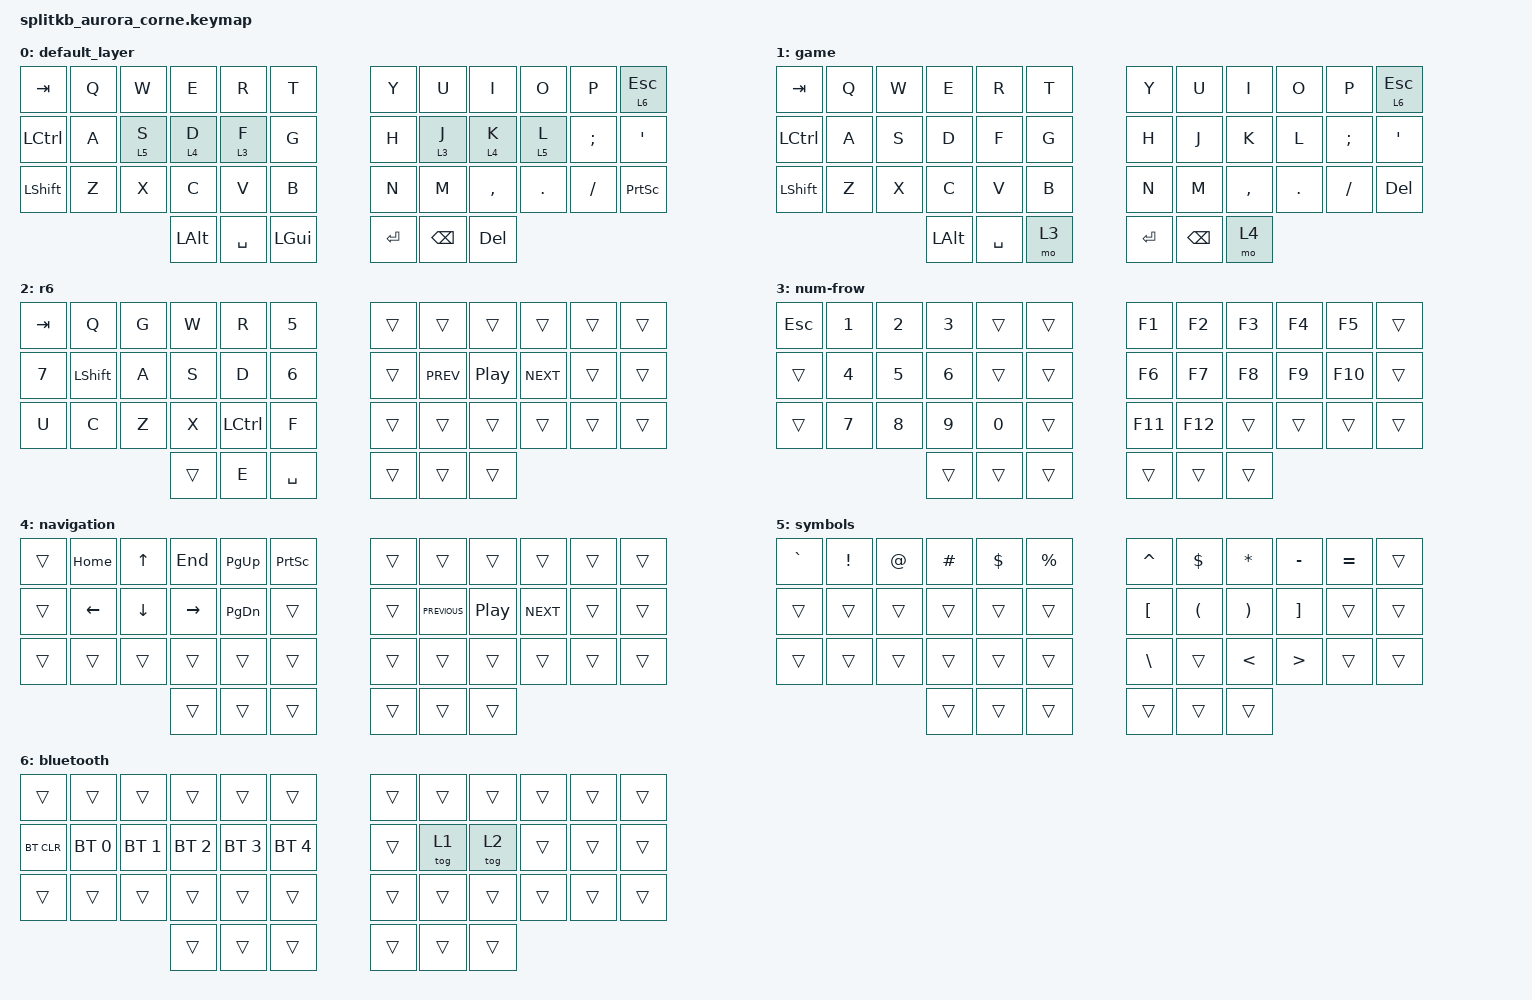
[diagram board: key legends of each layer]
/*
 * Copyright (c) 2020 The ZMK Contributors
 *
 * SPDX-License-Identifier: MIT
 */

#include <behaviors.dtsi>
#include <dt-bindings/zmk/bt.h>
#include <dt-bindings/zmk/keys.h>

/ {
    keymap {
        compatible = "zmk,keymap";

        default_layer {
            // -----------------------------------------------------------------------------------------
            // |  TAB |  Q  |  W  |  E  |  R  |  T  |   |  Y  |  U   |  I  |  O  |  P  | BKSP |
            // | CTRL |  A  |  S  |  D  |  F  |  G  |   |  H  |  J   |  K  |  L  |  ;  |  '   |
            // | SHFT |  Z  |  X  |  C  |  V  |  B  |   |  N  |  M   |  ,  |  .  |  /  | ESC  |
            //                    | GUI | LWR | SPC |   | ENT | RSE  | ALT |

            bindings = <
&kp TAB    &kp Q  &kp W    &kp E         &kp R      &kp T           &kp Y    &kp U          &kp I       &kp O    &kp P     &lt 6 ESCAPE
&kp LCTRL  &kp A  &lt 5 S  &lt 4 D       &lt 3 F    &kp G           &kp H    &lt 3 J        &lt 4 K     &lt 5 L  &kp SEMI  &kp SQT
&kp LSHFT  &kp Z  &kp X    &kp C         &kp V      &kp B           &kp N    &kp M          &kp COMMA   &kp DOT  &kp FSLH  &kp PRINTSCREEN
                           &kp LEFT_ALT  &kp SPACE  &kp LEFT_GUI    &kp RET  &kp BACKSPACE  &kp DELETE
            >;
        };

        game {
            bindings = <
&kp TAB    &kp Q  &kp W  &kp E         &kp R      &kp T    &kp Y    &kp U          &kp I      &kp O    &kp P     &lt 6 ESCAPE
&kp LCTRL  &kp A  &kp S  &kp D         &kp F      &kp G    &kp H    &kp J          &kp K      &kp L    &kp SEMI  &kp SQT
&kp LSHFT  &kp Z  &kp X  &kp C         &kp V      &kp B    &kp N    &kp M          &kp COMMA  &kp DOT  &kp FSLH  &kp DEL
                         &kp LEFT_ALT  &kp SPACE  &mo 3    &kp RET  &kp BACKSPACE  &mo 4
            >;
        };

        r6 {
            bindings = <
&kp TAB       &kp Q           &kp G  &kp W   &kp R      &kp NUMBER_5    &trans  &trans      &trans    &trans      &trans  &trans
&kp NUMBER_7  &kp LEFT_SHIFT  &kp A  &kp S   &kp D      &kp NUMBER_6    &trans  &kp C_PREV  &kp C_PP  &kp C_NEXT  &trans  &trans
&kp U         &kp C           &kp Z  &kp X   &kp LCTRL  &kp F           &trans  &trans      &trans    &trans      &trans  &trans
                                     &trans  &kp E      &kp SPACE       &trans  &trans      &trans
            >;
        };

        num-frow {
            bindings = <
&kp ESC  &kp N1  &kp N2  &kp N3  &trans        &trans    &kp F1   &kp F2   &kp F3  &kp F4  &kp F5   &trans
&trans   &kp N4  &kp N5  &kp N6  &trans        &trans    &kp F6   &kp F7   &kp F8  &kp F9  &kp F10  &trans
&trans   &kp N7  &kp N8  &kp N9  &kp NUMBER_0  &trans    &kp F11  &kp F12  &trans  &trans  &trans   &trans
                         &trans  &trans        &trans    &trans   &trans   &trans
            >;
        };

        navigation {
            bindings = <
&trans  &kp HOME        &kp UP_ARROW    &kp END          &kp PAGE_UP    &kp PRINTSCREEN    &trans  &trans          &trans            &trans      &trans  &trans
&trans  &kp LEFT_ARROW  &kp DOWN_ARROW  &kp RIGHT_ARROW  &kp PAGE_DOWN  &trans             &trans  &kp C_PREVIOUS  &kp C_PLAY_PAUSE  &kp C_NEXT  &trans  &trans
&trans  &trans          &trans          &trans           &trans         &trans             &trans  &trans          &trans            &trans      &trans  &trans
                                        &trans           &trans         &trans             &trans  &trans          &trans
            >;
        };

        symbols {
            bindings = <
&kp GRAVE  &kp EXCLAMATION  &kp AT_SIGN  &kp HASH  &kp DOLLAR  &kp PERCENT    &kp CARET         &kp DOLLAR            &kp ASTERISK           &kp MINUS          &kp EQUAL  &trans
&trans     &trans           &trans       &trans    &trans      &trans         &kp LEFT_BRACKET  &kp LEFT_PARENTHESIS  &kp RIGHT_PARENTHESIS  &kp RIGHT_BRACKET  &trans     &trans
&trans     &trans           &trans       &trans    &trans      &trans         &kp BACKSLASH     &trans                &kp LESS_THAN          &kp GREATER_THAN   &trans     &trans
                                         &trans    &trans      &trans         &trans            &trans                &trans
            >;
        };

        bluetooth {
            bindings = <
&trans      &trans        &trans        &trans        &trans        &trans          &trans  &trans  &trans  &trans  &trans  &trans
&bt BT_CLR  &bt BT_SEL 0  &bt BT_SEL 1  &bt BT_SEL 2  &bt BT_SEL 3  &bt BT_SEL 4    &trans  &tog 1  &tog 2  &trans  &trans  &trans
&trans      &trans        &trans        &trans        &trans        &trans          &trans  &trans  &trans  &trans  &trans  &trans
                                        &trans        &trans        &trans          &trans  &trans  &trans
            >;
        };
    };
};
